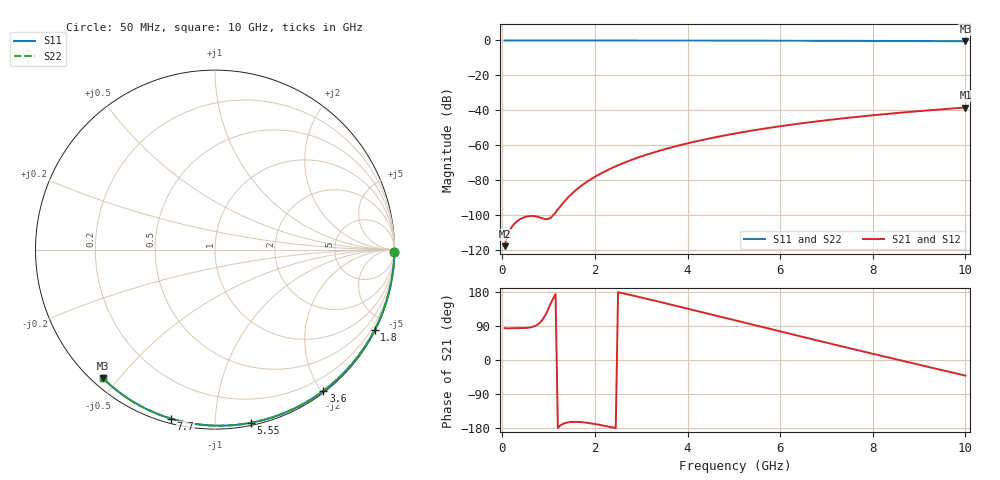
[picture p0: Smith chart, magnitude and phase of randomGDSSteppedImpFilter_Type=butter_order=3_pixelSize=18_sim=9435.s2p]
! freq	dB(S11)	phase(S11)	dB(S12)	phase(S12)
!  dB(S21)	phase(S21)	dB(S22)	phase(S22)
!S-par simulation data
#  GHz  S  DB  R 50
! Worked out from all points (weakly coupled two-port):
!   200 points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, 50 MHz to 10 GHz, reference 50 ohm
!   highest |S21| = -38.44 dB at 10 GHz (marker M1); lowest = -117.9 dB at 50 MHz (marker M2)
!   lowest |S11| = -0.4 dB at 10 GHz (marker M3), VSWR 39.20, Z = 1.54 - j22.8 ohm
!   |S11| at or under -10 dB: nowhere
!   |S22| runs from -0.4 to 0.0 dB; largest |S21 - S12| = 0
!   S11 on the Smith chart (normalised r, x): 50 MHz: open; 1.8 GHz: 0.04, -4.19; 3.6 GHz: 0.02, -2.03; 5.55 GHz: 0.02, -1.23; 7.7 GHz: 0.02, -0.77; 10 GHz: 0.03, -0.46
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0.05  -0.00 -0.8  -117.87 83.9  -117.87 83.9  -0.00 -0.8
0.9  -0.02 -13.5  -102.18 112.5  -102.18 112.5  -0.02 -13.5
1.75  -0.03 -26.1  -82.40 -164.6  -82.40 -164.6  -0.03 -26.1
1.8  -0.03 -26.8  -81.47 -165.3  -81.47 -165.3  -0.03 -26.8
1.85  -0.04 -27.6  -80.58 -166.1  -80.58 -166.1  -0.04 -27.6
1.9  -0.04 -28.3  -79.73 -167.0  -79.73 -167.0  -0.04 -28.3
2.05  -0.04 -30.5  -77.36 -170.0  -77.36 -170.0  -0.04 -30.5
2.25  -0.04 -33.4  -74.56 -174.7  -74.56 -174.7  -0.04 -33.4
2.45  -0.05 -36.3  -72.09 -179.8  -72.09 -179.8  -0.05 -36.3
2.65  -0.05 -39.1  -69.87 174.8  -69.87 174.8  -0.05 -39.1
3  -0.06 -44.1  -66.47 165.0  -66.47 165.0  -0.06 -44.1
3.4  -0.07 -49.7  -63.13 153.3  -63.13 153.3  -0.07 -49.7
3.6  -0.07 -52.5  -61.64 147.4  -61.64 147.4  -0.07 -52.5
4.3  -0.09 -62.0  -57.13 126.5  -57.13 126.5  -0.09 -62.0
5.05  -0.11 -72.0  -53.20 104.0  -53.20 104.0  -0.11 -72.0
5.55  -0.13 -78.4  -50.96 88.9  -50.96 88.9  -0.13 -78.4
6.1  -0.15 -85.3  -48.78 72.5  -48.78 72.5  -0.15 -85.3
6.7  -0.18 -92.7  -46.68 54.6  -46.68 54.6  -0.18 -92.7
7.7  -0.24 -104.7  -43.67 25.2  -43.67 25.2  -0.24 -104.7
8.35  -0.29 -112.3  -41.99 6.2  -41.99 6.2  -0.29 -112.3
9.15  -0.36 -121.4  -40.15 -16.8  -40.15 -16.8  -0.36 -121.4
10  -0.44 -131.0  -38.44 -41.3  -38.44 -41.3  -0.44 -131.0
